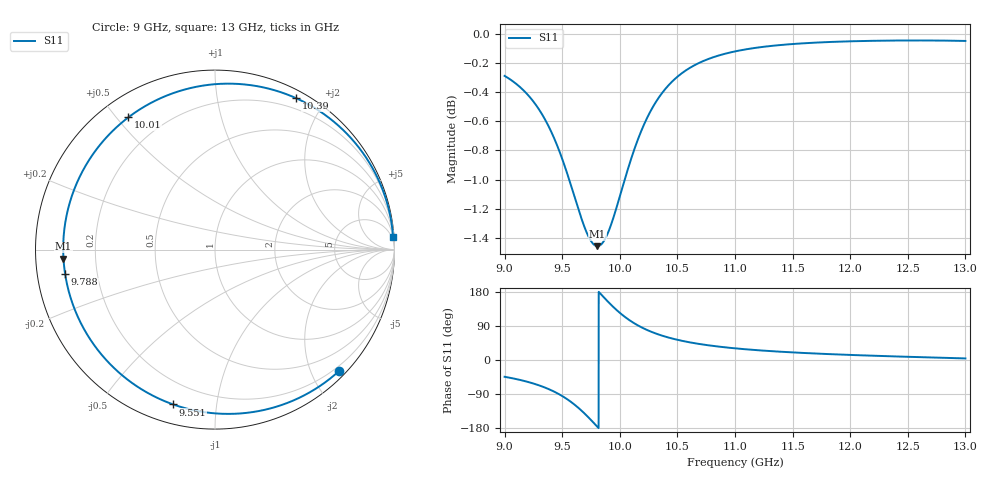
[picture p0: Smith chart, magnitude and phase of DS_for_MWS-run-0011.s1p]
! TOUCHSTONE file generated by CST DESIGN STUDIO
! Date and time: Tue Feb  4 17:16:08 2025
! Project name: C:\Work\MatlabApps\UnitCellOptimizationMatlab\CST\unitcell.cst
! Tree item: Tasks\Sweep1\SPara1\S-Parameters
! Header version: 2024
! Port assignment regex: !\s*Touchstone port\s*([0-9]+)\s*=\s*(CST MWS port|CST DES external port|CST DES block port)\s*(.+)\s* \(\"(.*)\"\)(\s*mode\s*([0-9]+))?.*
! Touchstone port assignment:
! Touchstone port 1 = CST DES external port 1 ("")
# GHz S MA R 50
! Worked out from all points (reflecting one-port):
!   4001 points, 9 GHz to 13 GHz, reference 50 ohm
!   lowest |S11| = -1.5 dB at 9.806 GHz (marker M1), VSWR 11.97, Z = 4.18 - j1.5 ohm
!   phase of S11 starts at -44 deg and turns -312 deg over the sweep
!   S11 on the Smith chart (normalised r, x): 9 GHz: 0.12, -2.45; 9.551 GHz: 0.09, -0.76; 9.788 GHz: 0.08, -0.08; 10.01 GHz: 0.08, +0.54; 10.39 GHz: 0.08, +1.67; 13 GHz: 2, +27
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9  0.9672 -44.3
9.145  0.9578 -53.4
9.276  0.9448 -64.6
9.391  0.928 -77.9
9.5  0.906 -95.1
9.551  0.8937 -105.1
9.611  0.8783 -118.7
9.667  0.8644 -133.4
9.732  0.8516 -152.7
9.788  0.8461 -170.6
9.806  0.8457 -176.5
9.849  0.8478 169.3
9.893  0.8539 155.2
9.948  0.8658 138.7
10  0.8795 124.5
10.005  0.8809 123.2
10.077  0.9005 106.5
10.158  0.9201 91.1
10.271  0.9413 74.8
10.393  0.957 61.8
10.5  0.9665 53.3
10.602  0.973 46.9
10.717  0.9783 41.0
11  0.986 30.8
11.5  0.9918 20.1
12  0.9939 13.4
12.5  0.9945 8.4
13  0.9942 4.2
